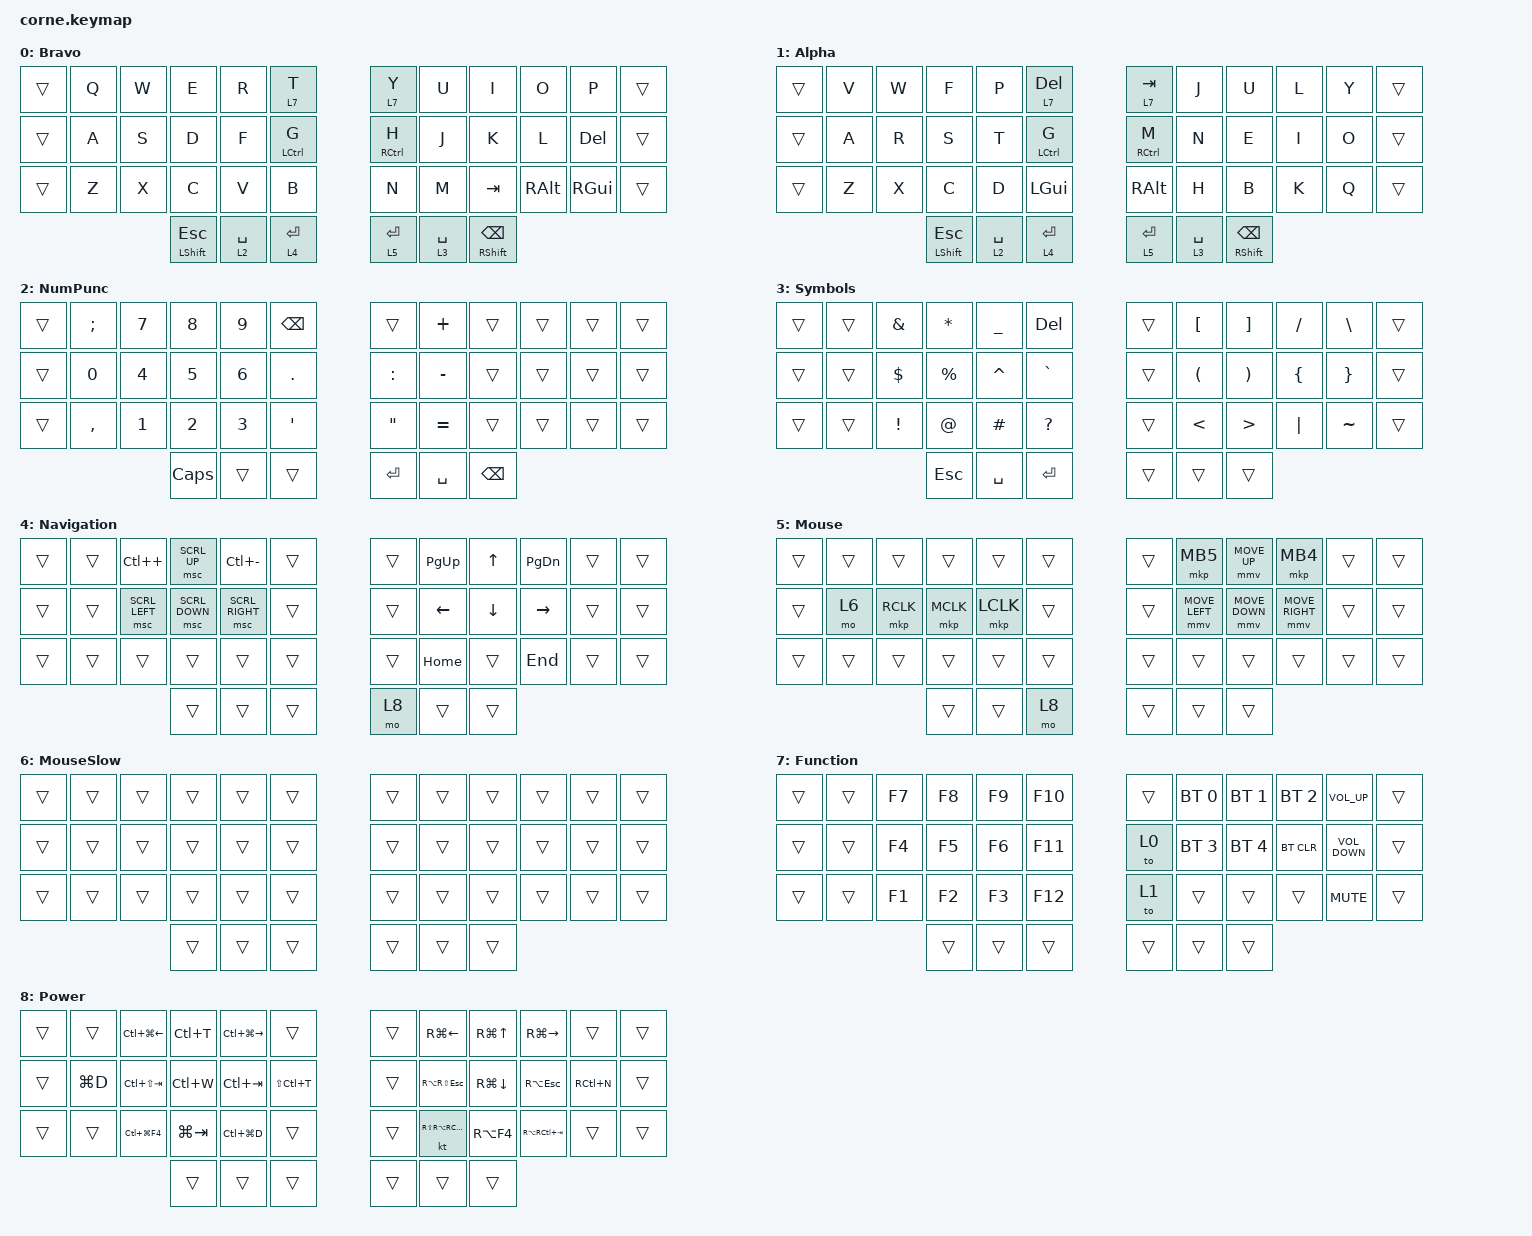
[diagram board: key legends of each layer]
/*
 * Copyright (c) 2020 The ZMK Contributors
 *
 * SPDX-License-Identifier: MIT
 */

#define ZMK_POINTING_DEFAULT_MOVE_VAL 1000  // default: 600
#define ZMK_POINTING_DEFAULT_SCRL_VAL  10    // default: 10
#define SLOW_LAYER 6
#define FAST_LAYER 2

#include <input/processors.dtsi>
#include <behaviors.dtsi>
#include <dt-bindings/zmk/bt.h>
#include <dt-bindings/zmk/keys.h>
#include <dt-bindings/zmk/pointing.h>

&mmv {
    x-input-code = <INPUT_REL_X>;
    y-input-code = <INPUT_REL_Y>;
    time-to-max-speed-ms = <1>;      // changed from 0 — see note below
    acceleration-exponent = <0>;
};

&msc {
    x-input-code = <INPUT_REL_HWHEEL>;
    y-input-code = <INPUT_REL_WHEEL>;
    time-to-max-speed-ms = <1>;      // changed from 0 — see note below
    acceleration-exponent = <0>;
};

&mmv_input_listener {
    input-processors = <&zip_xy_scaler 1 1>;

    slow_layer {
        layers = <SLOW_LAYER>;
        input-processors = <&zip_xy_scaler 1 4>;   // 0.25x speed
    };

    fast_layer {
        layers = <FAST_LAYER>;
        input-processors = <&zip_xy_scaler 3 2>;   // 1.5x speed
    };
};

/ {
    combos { compatible = "zmk,combos"; };

    keymap {
        compatible = "zmk,keymap";

        Bravo {
            bindings = <
&trans  &kp Q  &kp W  &kp E                  &kp R        &lt 7 T               &lt 7 Y              &kp U        &kp I                      &kp O          &kp P          &trans
&trans  &kp A  &kp S  &kp D                  &kp F        &mt LEFT_CONTROL G    &mt RIGHT_CONTROL H  &kp J        &kp K                      &kp L          &kp DELETE     &trans
&trans  &kp Z  &kp X  &kp C                  &kp V        &kp B                 &kp N                &kp M        &kp TAB                    &kp RIGHT_ALT  &kp RIGHT_GUI  &trans
                      &mt LEFT_SHIFT ESCAPE  &lt 2 SPACE  &lt 4 ENTER           &lt 5 ENTER          &lt 3 SPACE  &mt RIGHT_SHIFT BACKSPACE
            >;
        };

        Alpha {
            bindings = <
&trans  &kp V  &kp W  &kp F                  &kp P        &lt 7 DELETE          &lt 7 TAB            &kp J        &kp U                      &kp L  &kp Y  &trans
&trans  &kp A  &kp R  &kp S                  &kp T        &mt LEFT_CONTROL G    &mt RIGHT_CONTROL M  &kp N        &kp E                      &kp I  &kp O  &trans
&trans  &kp Z  &kp X  &kp C                  &kp D        &kp LEFT_GUI          &kp RIGHT_ALT        &kp H        &kp B                      &kp K  &kp Q  &trans
                      &mt LEFT_SHIFT ESCAPE  &lt 2 SPACE  &lt 4 ENTER           &lt 5 ENTER          &lt 3 SPACE  &mt RIGHT_SHIFT BACKSPACE
            >;
        };

        NumPunc {
            bindings = <
&trans  &kp SEMICOLON  &kp NUMBER_7  &kp NUMBER_8  &kp NUMBER_9  &kp BACKSPACE       &trans             &kp PLUS   &trans         &trans  &trans  &trans
&trans  &kp NUMBER_0   &kp NUMBER_4  &kp NUMBER_5  &kp NUMBER_6  &kp PERIOD          &kp COLON          &kp MINUS  &trans         &trans  &trans  &trans
&trans  &kp COMMA      &kp NUMBER_1  &kp NUMBER_2  &kp NUMBER_3  &kp SINGLE_QUOTE    &kp DOUBLE_QUOTES  &kp EQUAL  &trans         &trans  &trans  &trans
                                     &kp CAPS      &trans        &trans              &kp ENTER          &kp SPACE  &kp BACKSPACE
            >;
        };

        Symbols {
            bindings = <
&trans  &trans  &kp AMPERSAND    &kp ASTERISK  &kp UNDERSCORE  &kp DELETE      &trans  &kp LEFT_BRACKET      &kp RIGHT_BRACKET      &kp SLASH       &kp BACKSLASH    &trans
&trans  &trans  &kp DOLLAR       &kp PERCENT   &kp CARET       &kp GRAVE       &trans  &kp LEFT_PARENTHESIS  &kp RIGHT_PARENTHESIS  &kp LEFT_BRACE  &kp RIGHT_BRACE  &trans
&trans  &trans  &kp EXCLAMATION  &kp AT_SIGN   &kp HASH        &kp QUESTION    &trans  &kp LESS_THAN         &kp GREATER_THAN       &kp PIPE        &kp TILDE        &trans
                                 &kp ESCAPE    &kp SPACE       &kp ENTER       &trans  &trans                &trans
            >;
        };

        Navigation {
            bindings = <
&trans  &trans  &kp LC(PLUS)    &msc SCRL_UP    &kp LC(MINUS)    &trans    &trans  &kp PAGE_UP  &kp UP_ARROW  &kp PAGE_DOWN  &trans  &trans
&trans  &trans  &msc SCRL_LEFT  &msc SCRL_DOWN  &msc SCRL_RIGHT  &trans    &trans  &kp LEFT     &kp DOWN      &kp RIGHT      &trans  &trans
&trans  &trans  &trans          &trans          &trans           &trans    &trans  &kp HOME     &trans        &kp END        &trans  &trans
                                &trans          &trans           &trans    &mo 8   &trans       &trans
            >;
        };

        Mouse {
            bindings = <
&trans  &trans  &trans     &trans     &trans     &trans    &trans  &mkp MB5        &mmv MOVE_UP    &mkp MB4         &trans  &trans
&trans  &mo 6   &mkp RCLK  &mkp MCLK  &mkp LCLK  &trans    &trans  &mmv MOVE_LEFT  &mmv MOVE_DOWN  &mmv MOVE_RIGHT  &trans  &trans
&trans  &trans  &trans     &trans     &trans     &trans    &trans  &trans          &trans          &trans           &trans  &trans
                           &trans     &trans     &mo 8     &trans  &trans          &trans
            >;
        };

        MouseSlow {
            bindings = <
&trans  &trans  &trans  &trans  &trans  &trans    &trans  &trans  &trans  &trans  &trans  &trans
&trans  &trans  &trans  &trans  &trans  &trans    &trans  &trans  &trans  &trans  &trans  &trans
&trans  &trans  &trans  &trans  &trans  &trans    &trans  &trans  &trans  &trans  &trans  &trans
                        &trans  &trans  &trans    &trans  &trans  &trans
            >;
        };

        Function {
            bindings = <
&trans  &trans  &kp F7  &kp F8  &kp F9  &kp F10    &trans  &bt BT_SEL 0  &bt BT_SEL 1  &bt BT_SEL 2  &kp C_VOLUME_UP    &trans
&trans  &trans  &kp F4  &kp F5  &kp F6  &kp F11    &to 0   &bt BT_SEL 3  &bt BT_SEL 4  &bt BT_CLR    &kp C_VOLUME_DOWN  &trans
&trans  &trans  &kp F1  &kp F2  &kp F3  &kp F12    &to 1   &trans        &trans        &trans        &kp C_MUTE         &trans
                        &trans  &trans  &trans     &trans  &trans        &trans
            >;
        };

        Power {
            bindings = <
&trans  &trans     &kp LC(LG(LEFT_ARROW))  &kp LC(T)    &kp LC(LG(RIGHT_ARROW))  &trans           &trans  &kp RG(LEFT)         &kp RG(UP_ARROW)  &kp RG(RIGHT)    &trans     &trans
&trans  &kp LG(D)  &kp LC(LS(TAB))         &kp LC(W)    &kp LC(TAB)              &kp LS(LC(T))    &trans  &kp RA(RS(ESCAPE))   &kp RG(DOWN)      &kp RA(ESCAPE)   &kp RC(N)  &trans
&trans  &trans     &kp LC(LG(F4))          &kp LG(TAB)  &kp LC(LG(D))            &trans           &trans  &kt RS(RA(RC(TAB)))  &kp RA(F4)        &kp RA(RC(TAB))  &trans     &trans
                                           &trans       &trans                   &trans           &trans  &trans               &trans
            >;
        };

        extra1 { status = "reserved"; };

        extra2 { status = "reserved"; };
    };

    conditional_layers { compatible = "zmk,conditional-layers"; };
};
